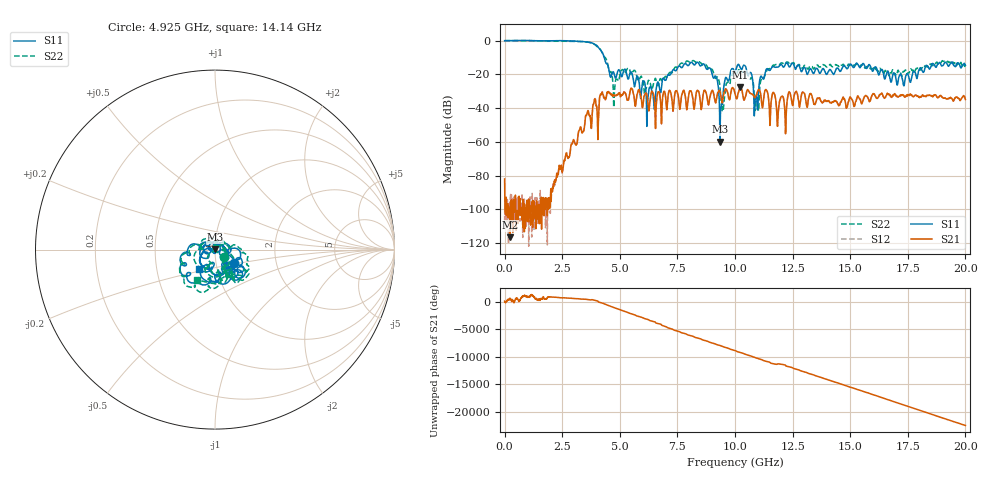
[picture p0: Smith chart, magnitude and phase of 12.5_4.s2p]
#  HZ  S  RI  R  50.00
! Rohde & Schwarz Vector Network Analyzer
! Rohde-Schwarz,ZNB20-2Port,1311601062102128,3.60
! Created: UTC 4/29/2024, 2:56:47 PM
! freq[Hz]  re:S11  im:S11  re:S21  im:S21  re:S12  im:S12  re:S22  im:S22
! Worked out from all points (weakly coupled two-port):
!   2007 points, 100 kHz to 20 GHz, reference 50 ohm
!   highest |S21| = -27.65 dB at 10.23 GHz (marker M1); lowest = -116.6 dB at 229.4 MHz (marker M2)
!   lowest |S11| = -59.8 dB at 9.342 GHz (marker M3), VSWR 1.00, Z = 50.1 + j0.0874 ohm
!   |S11| at or under -10 dB: 4.326 GHz to end of sweep
!   |S22| runs from -41.9 to 0.1 dB; largest |S21 - S12| = 0.002
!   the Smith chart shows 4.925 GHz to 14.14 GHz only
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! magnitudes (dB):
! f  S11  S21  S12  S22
! 100 kHz  0.0  -82.0  -107.1  0.1
! 229.4 MHz  0.0  -116.6  -97.5  0.0
! 2.213 GHz  -0.1  -83.5  -82.6  -0.3
! 3.34 GHz  -0.6  -53.9  -53.6  -0.6
! 4.158 GHz  -5.5  -31.9  -31.5  -5.2
! 4.776 GHz  -20.7  -32.4  -32.4  -28.8
! 5.354 GHz  -22.8  -35.4  -35.2  -16.3
! 6.211 GHz  -35.0  -35.9  -36.0  -24.9
! 6.67 GHz  -24.7  -30.3  -30.3  -26.5
! 8.375 GHz  -12.8  -29.5  -29.5  -12.9
! 9.173 GHz  -21.2  -36.4  -36.5  -22.5
! 9.342 GHz  -59.8  -30.1  -30.1  -26.8
! 9.482 GHz  -32.2  -34.1  -34.1  -40.6
! 10 GHz  -18.7  -31.5  -31.4  -19.5
! 10.23 GHz  -16.0  -27.6  -27.6  -16.8
! 10.69 GHz  -18.9  -31.4  -31.4  -22.1
! 10.91 GHz  -33.4  -32.6  -32.6  -36.4
! 11.42 GHz  -16.7  -30.9  -30.9  -16.9
! 11.86 GHz  -15.7  -45.7  -45.7  -14.1
! 13.34 GHz  -18.0  -32.8  -32.8  -15.3
! 16.67 GHz  -19.1  -31.8  -31.8  -20.5
! 20 GHz  -14.6  -34.9  -34.9  -14.4
